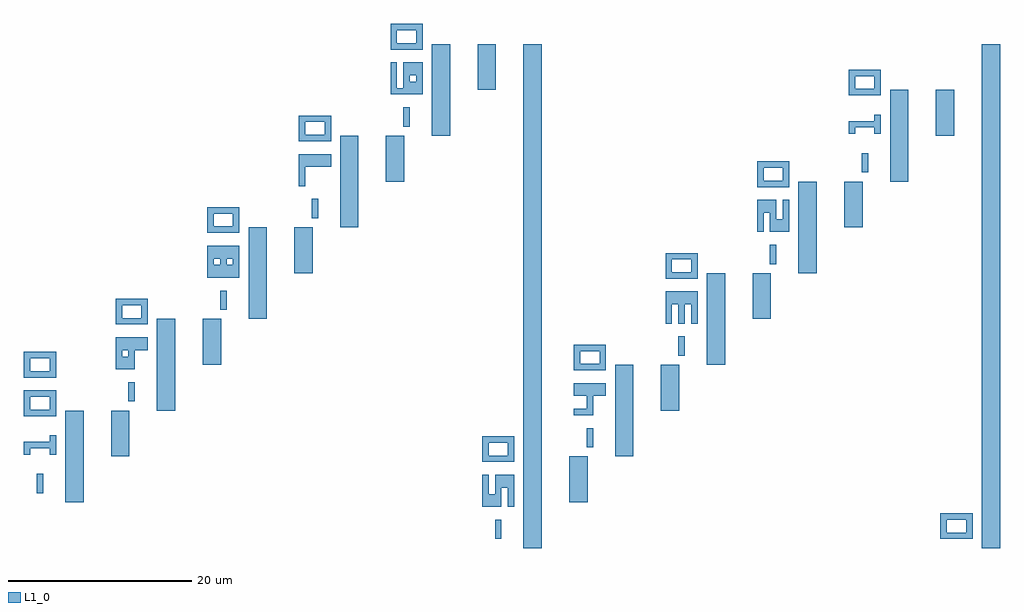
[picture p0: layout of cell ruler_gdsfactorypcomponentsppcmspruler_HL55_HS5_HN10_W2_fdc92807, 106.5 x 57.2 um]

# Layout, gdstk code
from math import pi, radians
import gdstk
lib = gdstk.Library(unit=1e-6, precision=1e-09)
def R(c, l, rs):  # rectangles x0, y0, x1, y1
    for r in rs: c.add(gdstk.rectangle(r[:2], r[2:], *l))
def P(c, l, *ps):  # polygons
    for p in ps: c.add(gdstk.Polygon(p, *l))
L1_0 = (1, 0)

rectangle_gdsfactorypcom = lib.new_cell('rectangle_gdsfactorypcomponentspshapesprectangle_S2_10__a8c996f7')
R(rectangle_gdsfactorypcom, L1_0, [(0,0,2,10)])

text_rectangular_gdsfact = lib.new_cell('text_rectangular_gdsfactorypcomponentsptextsptext_recta_a3e8ccb3')
R(text_rectangular_gdsfact, L1_0, [(0,1.4,2.1,2.1)])
P(text_rectangular_gdsfact, L1_0, [(4.2,0),(4.2,0.7),(4.9,0.7),(4.9,2.8),(4.2,2.8),(4.2,3.5),(5.6,3.5),(5.6,0.7),(6.3,0.7),(6.3,0)],
  [(8.4,0),(8.4,2.8),(9.1,2.8),(9.1,0.7),(10.5,0.7),(10.5,2.8),(8.4,2.8),(8.4,3.5),(11.2,3.5),(11.2,0)],
  [(12.6,0),(12.6,2.8),(13.3,2.8),(13.3,0.7),(14.7,0.7),(14.7,2.8),(12.6,2.8),(12.6,3.5),(15.4,3.5),(15.4,0)])

c_rectangle_gdsfactorypcom = lib.new_cell('rectangle_gdsfactorypcomponentspshapesprectangle_S2_5_L_5c01a10c')
R(c_rectangle_gdsfactorypcom, L1_0, [(0,0,2,5)])

c_text_rectangular_gdsfact = lib.new_cell('text_rectangular_gdsfactorypcomponentsptextsptext_recta_88c477eb')
R(c_text_rectangular_gdsfact, L1_0, [(0,1.4,2.1,2.1)])
P(c_text_rectangular_gdsfact, L1_0, [(5.6,0),(5.6,1.4),(3.5,1.4),(3.5,2.8),(4.9,2.8),(4.9,2.1),(5.6,2.1),(5.6,2.8),(3.5,2.8),(3.5,3.5),(7,3.5),(7,0)],
  [(8.4,0),(8.4,2.8),(9.1,2.8),(9.1,0.7),(10.5,0.7),(10.5,2.8),(8.4,2.8),(8.4,3.5),(11.2,3.5),(11.2,0)])

c_text_rectangular_gdsfact_ = lib.new_cell('text_rectangular_gdsfactorypcomponentsptextsptext_recta_9f522111')
R(c_text_rectangular_gdsfact_, L1_0, [(0,1.4,2.1,2.1)])
P(c_text_rectangular_gdsfact_, L1_0, [(3.5,0),(3.5,1.4),(4.9,1.4),(4.9,0.7),(5.6,0.7),(5.6,1.4),(3.5,1.4),(3.5,2.8),(4.9,2.8),(4.9,2.1),(5.6,2.1),(5.6,2.8),(3.5,2.8),(3.5,3.5),(7,3.5),(7,0)],
  [(8.4,0),(8.4,2.8),(9.1,2.8),(9.1,0.7),(10.5,0.7),(10.5,2.8),(8.4,2.8),(8.4,3.5),(11.2,3.5),(11.2,0)])

c_text_rectangular_gdsfact__ = lib.new_cell('text_rectangular_gdsfactorypcomponentsptextsptext_recta_d0df6711')
R(c_text_rectangular_gdsfact__, L1_0, [(0,1.4,2.1,2.1)])
P(c_text_rectangular_gdsfact__, L1_0, [(5.6,0),(5.6,2.8),(3.5,2.8),(3.5,3.5),(7,3.5),(7,0)],
  [(8.4,0),(8.4,2.8),(9.1,2.8),(9.1,0.7),(10.5,0.7),(10.5,2.8),(8.4,2.8),(8.4,3.5),(11.2,3.5),(11.2,0)])

c_text_rectangular_gdsfact___ = lib.new_cell('text_rectangular_gdsfactorypcomponentsptextsptext_recta_bff22fae')
R(c_text_rectangular_gdsfact___, L1_0, [(0,1.4,2.1,2.1)])
P(c_text_rectangular_gdsfact___, L1_0, [(3.5,0),(3.5,1.4),(4.9,1.4),(4.9,0.7),(5.6,0.7),(5.6,1.4),(3.5,1.4),(3.5,3.5),(7,3.5),(7,2.8),(4.2,2.8),(4.2,2.1),(7,2.1),(7,0)],
  [(8.4,0),(8.4,2.8),(9.1,2.8),(9.1,0.7),(10.5,0.7),(10.5,2.8),(8.4,2.8),(8.4,3.5),(11.2,3.5),(11.2,0)])

c_rectangle_gdsfactorypcom_ = lib.new_cell('rectangle_gdsfactorypcomponentspshapesprectangle_S2_55__2922dfc8')
R(c_rectangle_gdsfactorypcom_, L1_0, [(0,0,2,55)])

c_text_rectangular_gdsfact____ = lib.new_cell('text_rectangular_gdsfactorypcomponentsptextsptext_recta_ac81e609')
R(c_text_rectangular_gdsfact____, L1_0, [(0,1.4,2.1,2.1)])
P(c_text_rectangular_gdsfact____, L1_0, [(3.5,0),(3.5,0.7),(5.6,0.7),(5.6,1.4),(3.5,1.4),(3.5,3.5),(7,3.5),(7,2.8),(4.9,2.8),(4.9,2.1),(7,2.1),(7,0)],
  [(8.4,0),(8.4,2.8),(9.1,2.8),(9.1,0.7),(10.5,0.7),(10.5,2.8),(8.4,2.8),(8.4,3.5),(11.2,3.5),(11.2,0)])

c_text_rectangular_gdsfact_____ = lib.new_cell('text_rectangular_gdsfactorypcomponentsptextsptext_recta_82b729c7')
R(c_text_rectangular_gdsfact_____, L1_0, [(0,1.4,2.1,2.1)])
P(c_text_rectangular_gdsfact_____, L1_0, [(5.6,0),(5.6,1.4),(3.5,1.4),(3.5,3.5),(4.2,3.5),(4.2,2.1),(5.6,2.1),(5.6,3.5),(7,3.5),(7,0)],
  [(8.4,0),(8.4,2.8),(9.1,2.8),(9.1,0.7),(10.5,0.7),(10.5,2.8),(8.4,2.8),(8.4,3.5),(11.2,3.5),(11.2,0)])

c_text_rectangular_gdsfact______ = lib.new_cell('text_rectangular_gdsfactorypcomponentsptextsptext_recta_85be75db')
R(c_text_rectangular_gdsfact______, L1_0, [(0,1.4,2.1,2.1)])
P(c_text_rectangular_gdsfact______, L1_0, [(3.5,0),(3.5,0.7),(5.6,0.7),(5.6,1.4),(3.5,1.4),(3.5,2.1),(5.6,2.1),(5.6,2.8),(3.5,2.8),(3.5,3.5),(7,3.5),(7,0)],
  [(8.4,0),(8.4,2.8),(9.1,2.8),(9.1,0.7),(10.5,0.7),(10.5,2.8),(8.4,2.8),(8.4,3.5),(11.2,3.5),(11.2,0)])

c_text_rectangular_gdsfact_______ = lib.new_cell('text_rectangular_gdsfactorypcomponentsptextsptext_recta_bbd156c9')
R(c_text_rectangular_gdsfact_______, L1_0, [(0,1.4,2.1,2.1)])
P(c_text_rectangular_gdsfact_______, L1_0, [(3.5,0),(3.5,2.1),(5.6,2.1),(5.6,2.8),(3.5,2.8),(3.5,3.5),(7,3.5),(7,1.4),(4.9,1.4),(4.9,0.7),(7,0.7),(7,0)],
  [(8.4,0),(8.4,2.8),(9.1,2.8),(9.1,0.7),(10.5,0.7),(10.5,2.8),(8.4,2.8),(8.4,3.5),(11.2,3.5),(11.2,0)])

c_text_rectangular_gdsfact________ = lib.new_cell('text_rectangular_gdsfactorypcomponentsptextsptext_recta_56f2a38e')
R(c_text_rectangular_gdsfact________, L1_0, [(0,1.4,2.1,2.1)])
P(c_text_rectangular_gdsfact________, L1_0, [(4.2,0),(4.2,0.7),(4.9,0.7),(4.9,2.8),(4.2,2.8),(4.2,3.5),(5.6,3.5),(5.6,0.7),(6.3,0.7),(6.3,0)],
  [(8.4,0),(8.4,2.8),(9.1,2.8),(9.1,0.7),(10.5,0.7),(10.5,2.8),(8.4,2.8),(8.4,3.5),(11.2,3.5),(11.2,0)])

c_text_rectangular_gdsfact_________ = lib.new_cell('text_rectangular_gdsfactorypcomponentsptextsptext_recta_40d3f053')
P(c_text_rectangular_gdsfact_________, L1_0, [(0,0),(0,2.8),(0.7,2.8),(0.7,0.7),(2.1,0.7),(2.1,2.8),(0,2.8),(0,3.5),(2.8,3.5),(2.8,0)])

ruler_gdsfactorypcompone = lib.new_cell('ruler_gdsfactorypcomponentsppcmspruler_HL55_HS5_HN10_W2_fdc92807')
ruler_gdsfactorypcompone.add(gdstk.Reference(rectangle_gdsfactorypcom, (0,5)))
ruler_gdsfactorypcompone.add(gdstk.Reference(text_rectangular_gdsfact, (-1,6), rotation=pi/2))
ruler_gdsfactorypcompone.add(gdstk.Reference(c_rectangle_gdsfactorypcom, (5,10)))
ruler_gdsfactorypcompone.add(gdstk.Reference(rectangle_gdsfactorypcom, (10,15)))
ruler_gdsfactorypcompone.add(gdstk.Reference(c_text_rectangular_gdsfact, (9,16), rotation=pi/2))
ruler_gdsfactorypcompone.add(gdstk.Reference(c_rectangle_gdsfactorypcom, (15,20)))
ruler_gdsfactorypcompone.add(gdstk.Reference(rectangle_gdsfactorypcom, (20,25)))
ruler_gdsfactorypcompone.add(gdstk.Reference(c_text_rectangular_gdsfact_, (19,26), rotation=pi/2))
ruler_gdsfactorypcompone.add(gdstk.Reference(c_rectangle_gdsfactorypcom, (25,30)))
ruler_gdsfactorypcompone.add(gdstk.Reference(rectangle_gdsfactorypcom, (30,35)))
ruler_gdsfactorypcompone.add(gdstk.Reference(c_text_rectangular_gdsfact__, (29,36), rotation=pi/2))
ruler_gdsfactorypcompone.add(gdstk.Reference(c_rectangle_gdsfactorypcom, (35,40)))
ruler_gdsfactorypcompone.add(gdstk.Reference(rectangle_gdsfactorypcom, (40,45)))
ruler_gdsfactorypcompone.add(gdstk.Reference(c_text_rectangular_gdsfact___, (39,46), rotation=pi/2))
ruler_gdsfactorypcompone.add(gdstk.Reference(c_rectangle_gdsfactorypcom, (45,50)))
ruler_gdsfactorypcompone.add(gdstk.Reference(c_rectangle_gdsfactorypcom_, (50,0)))
ruler_gdsfactorypcompone.add(gdstk.Reference(c_text_rectangular_gdsfact____, (49,1), rotation=pi/2))
ruler_gdsfactorypcompone.add(gdstk.Reference(c_rectangle_gdsfactorypcom, (55,5)))
ruler_gdsfactorypcompone.add(gdstk.Reference(rectangle_gdsfactorypcom, (60,10)))
ruler_gdsfactorypcompone.add(gdstk.Reference(c_text_rectangular_gdsfact_____, (59,11), rotation=pi/2))
ruler_gdsfactorypcompone.add(gdstk.Reference(c_rectangle_gdsfactorypcom, (65,15)))
ruler_gdsfactorypcompone.add(gdstk.Reference(rectangle_gdsfactorypcom, (70,20)))
ruler_gdsfactorypcompone.add(gdstk.Reference(c_text_rectangular_gdsfact______, (69,21), rotation=pi/2))
ruler_gdsfactorypcompone.add(gdstk.Reference(c_rectangle_gdsfactorypcom, (75,25)))
ruler_gdsfactorypcompone.add(gdstk.Reference(rectangle_gdsfactorypcom, (80,30)))
ruler_gdsfactorypcompone.add(gdstk.Reference(c_text_rectangular_gdsfact_______, (79,31), rotation=pi/2))
ruler_gdsfactorypcompone.add(gdstk.Reference(c_rectangle_gdsfactorypcom, (85,35)))
ruler_gdsfactorypcompone.add(gdstk.Reference(rectangle_gdsfactorypcom, (90,40)))
ruler_gdsfactorypcompone.add(gdstk.Reference(c_text_rectangular_gdsfact________, (89,41), rotation=pi/2))
ruler_gdsfactorypcompone.add(gdstk.Reference(c_rectangle_gdsfactorypcom, (95,45)))
ruler_gdsfactorypcompone.add(gdstk.Reference(c_rectangle_gdsfactorypcom_, (100,0)))
ruler_gdsfactorypcompone.add(gdstk.Reference(c_text_rectangular_gdsfact_________, (99,1), rotation=pi/2))

lib.write_gds('ruler_gdsfactorypcomponentsppcmspruler_HL55_HS5_HN10_W2_fdc92807.gds')
